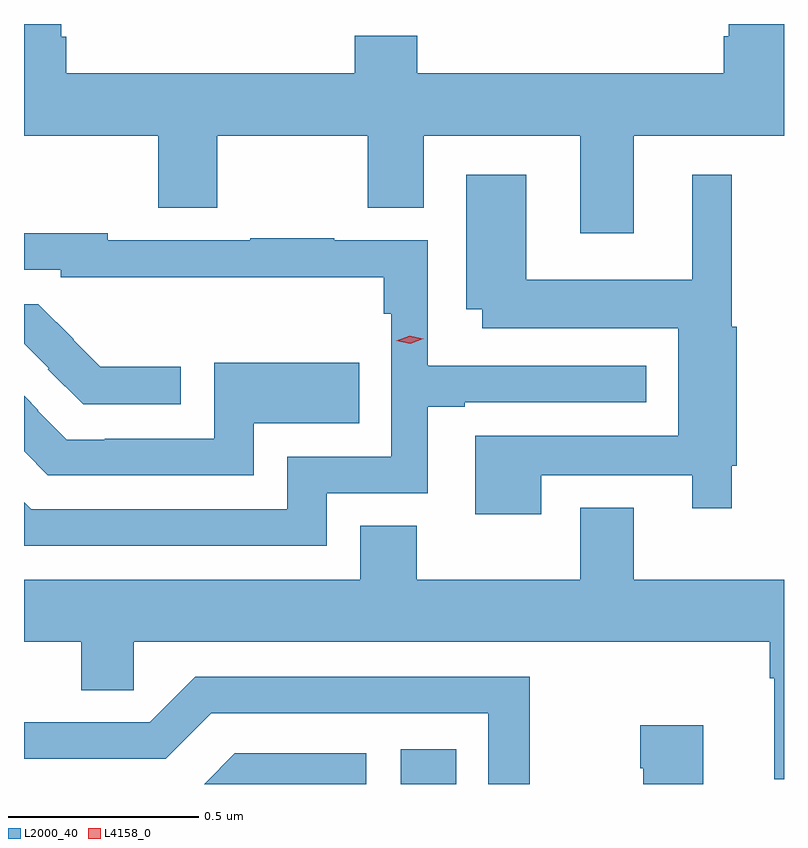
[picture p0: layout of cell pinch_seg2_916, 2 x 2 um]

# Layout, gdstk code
import gdstk
lib = gdstk.Library(unit=1e-6, precision=1e-09)
def R(c, l, rs):  # rectangles x0, y0, x1, y1
    for r in rs: c.add(gdstk.rectangle(r[:2], r[2:], *l))
def P(c, l, *ps):  # polygons
    for p in ps: c.add(gdstk.Polygon(p, *l))
L2000_40 = (2000, 40)
L4158_0 = (4158, 0)

pinch_seg2_916 = lib.new_cell('pinch_seg2_916')
R(pinch_seg2_916, L2000_40, [(420.228,600.642,420.374,600.733)])
P(pinch_seg2_916, L2000_40, [(420.841,602.348),(421.237,602.348),(421.237,602.642),(421.091,602.642),(421.091,602.61),(421.079,602.61),(421.079,602.512),(420.272,602.512),(420.272,602.611),(420.107,602.611),(420.107,602.512),(419.348,602.512),(419.348,602.608),(419.335,602.608),(419.335,602.642),(419.237,602.642),(419.237,602.348),(419.59,602.348),(419.59,602.158),(419.745,602.158),(419.745,602.348),(420.142,602.348),(420.142,602.158),(420.289,602.158),(420.289,602.348),(420.701,602.348),(420.701,602.091),(420.841,602.091)],
  [(420.598,601.454),(420.995,601.454),(420.995,601.368),(421.099,601.368),(421.099,601.48),(421.112,601.48),(421.112,601.845),(421.099,601.845),(421.099,602.245),(420.995,602.245),(420.995,601.969),(420.559,601.969),(420.559,602.245),(420.401,602.245),(420.401,601.892),(420.443,601.892),(420.443,601.841),(420.959,601.841),(420.959,601.558),(420.425,601.558),(420.425,601.352),(420.598,601.352)],
  [(420.034,601.407),(420.3,601.407),(420.3,601.635),(420.397,601.635),(420.397,601.647),(420.874,601.647),(420.874,601.743),(420.301,601.743),(420.301,601.744),(420.3,601.744),(420.3,602.073),(420.053,602.073),(420.053,602.078),(419.833,602.078),(419.833,602.073),(419.457,602.073),(419.457,602.091),(419.237,602.091),(419.237,601.995),(419.334,601.995),(419.334,601.975),(420.184,601.975),(420.184,601.88),(420.204,601.88),(420.204,601.503),(419.93,601.503),(419.93,601.365),(419.256,601.365),(419.237,601.384),(419.237,601.269),(420.034,601.269)],
  [(419.65,601.74),(419.438,601.74),(419.367,601.811),(419.368,601.812),(419.275,601.905),(419.237,601.905),(419.237,601.801),(419.302,601.736),(419.3,601.734),(419.393,601.641),(419.65,601.641)],
  [(419.842,601.592),(420.119,601.592),(420.119,601.75),(419.738,601.75),(419.738,601.551),(419.449,601.551),(419.449,601.548),(419.349,601.548),(419.273,601.624),(419.275,601.626),(419.237,601.664),(419.237,601.518),(419.3,601.455),(419.842,601.455)],
  [(421.237,601.18),(420.841,601.18),(420.841,601.369),(420.701,601.369),(420.701,601.18),(420.27,601.18),(420.27,601.322),(420.122,601.322),(420.122,601.18),(419.237,601.18),(419.237,601.016),(419.387,601.016),(419.387,600.889),(419.526,600.889),(419.526,601.016),(421.199,601.016),(421.199,600.92),(421.211,600.92),(421.211,600.654),(421.237,600.654)],
  [(420.568,600.924),(419.688,600.924),(419.568,600.804),(419.237,600.804),(419.237,600.708),(419.61,600.708),(419.73,600.828),(420.459,600.828),(420.459,600.642),(420.568,600.642)],
  [(421.024,600.796),(420.859,600.796),(420.859,600.683),(420.866,600.683),(420.866,600.642),(421.024,600.642)],
  [(420.138,600.723),(419.792,600.723),(419.711,600.642),(420.138,600.642)])
P(pinch_seg2_916, L4158_0, [(420.253,601.801),(420.217,601.809),(420.217,601.809),(420.217,601.809),(420.252,601.821),(420.288,601.814),(420.289,601.814),(420.288,601.814)])

lib.write_gds('pinch_seg2_916.gds')
